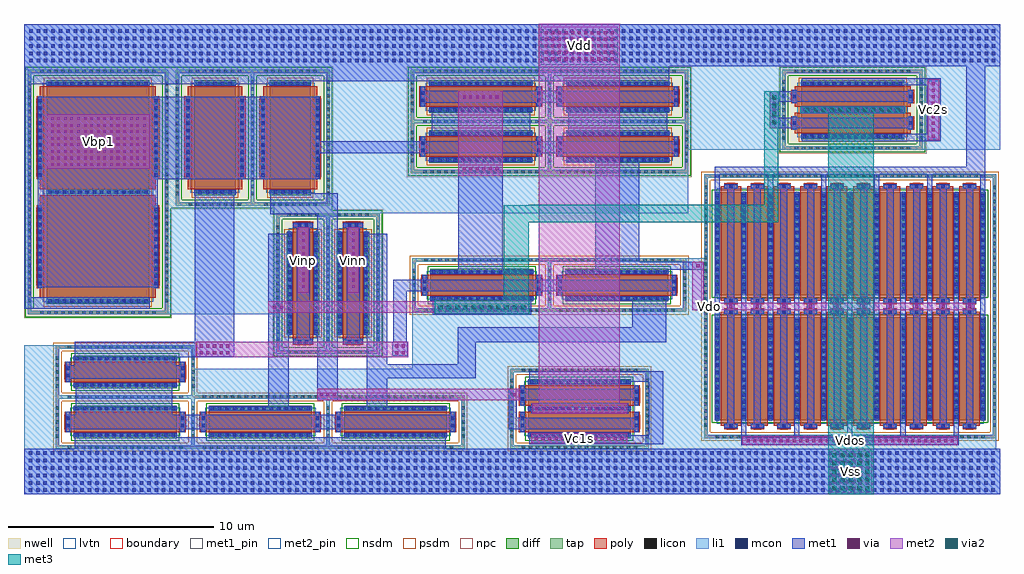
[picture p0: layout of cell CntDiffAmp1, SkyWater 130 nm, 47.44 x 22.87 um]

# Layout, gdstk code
from math import pi, radians
import gdstk
lib = gdstk.Library(unit=1e-6, precision=1e-09)
def R(c, l, rs):  # rectangles x0, y0, x1, y1
    for r in rs: c.add(gdstk.rectangle(r[:2], r[2:], *l))
def A(c, l, x, y, w, h, nx, ny, dx, dy):  # array of equal rectangles
    R(c, l, [(x+i*dx, y+j*dy, x+i*dx+w, y+j*dy+h) for i in range(nx) for j in range(ny)])
nwell = (64, 20)
diff = (65, 20)
tap = (65, 44)
poly = (66, 20)
licon = (66, 44)
li1 = (67, 20)
mcon = (67, 44)
met1_pin = (68, 16)
met1 = (68, 20)
via = (68, 44)
met2_pin = (69, 16)
met2 = (69, 20)
via2 = (69, 44)
met3 = (70, 20)
nsdm = (93, 44)
psdm = (94, 20)
npc = (95, 20)
lvtn = (125, 44)
boundary = (235, 4)

sky130_fd_pr__pfet_01v8_ = lib.new_cell('sky130_fd_pr__pfet_01v8_lvt_9T37YK')
R(sky130_fd_pr__pfet_01v8_, nwell, [(-3.48,-2.095,3.48,2.095)])
R(sky130_fd_pr__pfet_01v8_, diff, [(-2.79,-1,2.79,1)])
R(sky130_fd_pr__pfet_01v8_, tap, [(-3.3,-1.915,3.3,-1.745), (-3.3,-1.745,-3.13,1.745), (3.13,-1.745,3.3,1.745), (-3.3,1.745,3.3,1.915)])
R(sky130_fd_pr__pfet_01v8_, poly, [(-2.015,-1.485,2.015,-1.32), (-2.5,-1.32,2.5,1.32), (-2.015,1.32,2.015,1.485)])
A(sky130_fd_pr__pfet_01v8_, licon, -2.805, -1.915, 0.17, 0.17, 17, 2, 0.34, 3.66)
A(sky130_fd_pr__pfet_01v8_, licon, -1.785, -1.405, 0.17, 0.17, 11, 2, 0.34, 2.64)
A(sky130_fd_pr__pfet_01v8_, licon, -3.3, -1.275, 0.17, 0.17, 1, 8, 0, 0.34)
A(sky130_fd_pr__pfet_01v8_, licon, 3.13, -1.275, 0.17, 0.17, 1, 8, 0, 0.34)
A(sky130_fd_pr__pfet_01v8_, licon, -2.73, -0.935, 0.17, 0.17, 1, 6, 0, 0.34)
A(sky130_fd_pr__pfet_01v8_, licon, 2.56, -0.935, 0.17, 0.17, 1, 6, 0, 0.34)
R(sky130_fd_pr__pfet_01v8_, li1, [(-3.3,-1.915,3.3,-1.745), (-3.3,-1.745,-3.13,1.745), (3.13,-1.745,3.3,1.745), (-2.015,-1.405,2.015,-1.235), (-2.73,-1.02,-2.56,1.02), (2.56,-1.02,2.73,1.02), (-2.015,1.235,2.015,1.405), (-3.3,1.745,3.3,1.915)])
A(sky130_fd_pr__pfet_01v8_, mcon, -1.885, -1.405, 0.17, 0.17, 11, 2, 0.36, 2.64)
A(sky130_fd_pr__pfet_01v8_, mcon, -2.73, -0.805, 0.17, 0.17, 1, 5, 0, 0.36)
A(sky130_fd_pr__pfet_01v8_, mcon, 2.56, -0.805, 0.17, 0.17, 1, 5, 0, 0.36)
R(sky130_fd_pr__pfet_01v8_, met1, [(-1.995,-1.435,1.995,-1.205), (-2.76,-1,-2.53,1), (2.53,-1,2.76,1), (-1.995,1.205,1.995,1.435)])
R(sky130_fd_pr__pfet_01v8_, nsdm, [(-3.425,-2.04,3.425,-1.62), (-3.425,-1.62,-3.005,1.62), (3.005,-1.62,3.425,1.62), (-3.425,1.62,3.425,2.04)])
R(sky130_fd_pr__pfet_01v8_, psdm, [(-2.915,-1.125,2.915,1.125)])
R(sky130_fd_pr__pfet_01v8_, npc, [(-1.885,-1.505,1.885,-1.135), (-1.885,1.135,1.885,1.505)])
R(sky130_fd_pr__pfet_01v8_, lvtn, [(-2.68,-1.18,2.68,1.18)])
R(sky130_fd_pr__pfet_01v8_, boundary, [(-3.215,-1.83,3.215,1.83)])

c_sky130_fd_pr__pfet_01v8_ = lib.new_cell('sky130_fd_pr__pfet_01v8_lvt_LKL9EP')
R(c_sky130_fd_pr__pfet_01v8_, nwell, [(-1.48,-3.595,1.48,3.595)])
R(c_sky130_fd_pr__pfet_01v8_, diff, [(-0.79,-2.5,0.79,2.5)])
R(c_sky130_fd_pr__pfet_01v8_, tap, [(-1.3,-3.415,1.3,-3.245), (-1.3,-3.245,-1.13,3.245), (1.13,-3.245,1.3,3.245), (-1.3,3.245,1.3,3.415)])
R(c_sky130_fd_pr__pfet_01v8_, poly, [(-0.5,-2.985,0.5,2.985)])
A(c_sky130_fd_pr__pfet_01v8_, licon, -0.765, -3.415, 0.17, 0.17, 5, 2, 0.34, 6.66)
A(c_sky130_fd_pr__pfet_01v8_, licon, -1.3, -2.805, 0.17, 0.17, 1, 17, 0, 0.34)
A(c_sky130_fd_pr__pfet_01v8_, licon, 1.13, -2.805, 0.17, 0.17, 1, 17, 0, 0.34)
A(c_sky130_fd_pr__pfet_01v8_, licon, -0.73, -2.295, 0.17, 0.17, 1, 14, 0, 0.34)
A(c_sky130_fd_pr__pfet_01v8_, licon, 0.56, -2.295, 0.17, 0.17, 1, 14, 0, 0.34)
R(c_sky130_fd_pr__pfet_01v8_, licon, [(-0.255,-2.905,-0.085,-2.735), (0.085,-2.905,0.255,-2.735), (-0.255,2.735,-0.085,2.905), (0.085,2.735,0.255,2.905)])
R(c_sky130_fd_pr__pfet_01v8_, li1, [(-1.3,-3.415,1.3,-3.245), (-1.3,-3.245,-1.13,3.245), (1.13,-3.245,1.3,3.245), (-0.5,-2.905,0.5,-2.735), (-0.73,-2.52,-0.56,2.52), (0.56,-2.52,0.73,2.52), (-0.5,2.735,0.5,2.905), (-1.3,3.245,1.3,3.415)])
A(c_sky130_fd_pr__pfet_01v8_, mcon, -0.73, -2.425, 0.17, 0.17, 1, 14, 0, 0.36)
A(c_sky130_fd_pr__pfet_01v8_, mcon, 0.56, -2.425, 0.17, 0.17, 1, 14, 0, 0.36)
R(c_sky130_fd_pr__pfet_01v8_, mcon, [(-0.265,-2.905,-0.095,-2.735), (0.095,-2.905,0.265,-2.735), (-0.265,2.735,-0.095,2.905), (0.095,2.735,0.265,2.905)])
R(c_sky130_fd_pr__pfet_01v8_, met1, [(-0.48,-2.935,0.48,-2.705), (-0.76,-2.5,-0.53,2.5), (0.53,-2.5,0.76,2.5), (-0.48,2.705,0.48,2.935)])
R(c_sky130_fd_pr__pfet_01v8_, nsdm, [(-1.425,-3.54,1.425,-3.12), (-1.425,-3.12,-1.005,3.12), (1.005,-3.12,1.425,3.12), (-1.425,3.12,1.425,3.54)])
R(c_sky130_fd_pr__pfet_01v8_, psdm, [(-0.915,-2.625,0.915,2.625)])
R(c_sky130_fd_pr__pfet_01v8_, npc, [(-0.355,-3.005,0.355,-2.635), (-0.355,2.635,0.355,3.005)])
R(c_sky130_fd_pr__pfet_01v8_, lvtn, [(-0.68,-2.68,0.68,2.68)])
R(c_sky130_fd_pr__pfet_01v8_, boundary, [(-1.215,-3.33,1.215,3.33)])

c_sky130_fd_pr__pfet_01v8__ = lib.new_cell('sky130_fd_pr__pfet_01v8_lvt_LPWSEP')
R(c_sky130_fd_pr__pfet_01v8__, nwell, [(-1.48,-3.595,1.48,3.595)])
R(c_sky130_fd_pr__pfet_01v8__, diff, [(-0.79,-2.5,0.79,2.5)])
R(c_sky130_fd_pr__pfet_01v8__, tap, [(-1.3,-3.415,1.3,-3.245), (-1.3,-3.245,-1.13,3.245), (1.13,-3.245,1.3,3.245), (-1.3,3.245,1.3,3.415)])
R(c_sky130_fd_pr__pfet_01v8__, poly, [(-0.5,-2.985,0.5,2.985)])
A(c_sky130_fd_pr__pfet_01v8__, licon, -0.765, -3.415, 0.17, 0.17, 5, 2, 0.34, 6.66)
A(c_sky130_fd_pr__pfet_01v8__, licon, -1.3, -2.805, 0.17, 0.17, 1, 17, 0, 0.34)
A(c_sky130_fd_pr__pfet_01v8__, licon, 1.13, -2.805, 0.17, 0.17, 1, 17, 0, 0.34)
A(c_sky130_fd_pr__pfet_01v8__, licon, -0.73, -2.295, 0.17, 0.17, 1, 14, 0, 0.34)
A(c_sky130_fd_pr__pfet_01v8__, licon, 0.56, -2.295, 0.17, 0.17, 1, 14, 0, 0.34)
R(c_sky130_fd_pr__pfet_01v8__, licon, [(-0.255,-2.905,-0.085,-2.735), (0.085,-2.905,0.255,-2.735), (-0.255,2.735,-0.085,2.905), (0.085,2.735,0.255,2.905)])
R(c_sky130_fd_pr__pfet_01v8__, li1, [(-1.3,-3.415,1.3,-3.245), (-1.3,-3.245,-1.13,3.245), (1.13,-3.245,1.3,3.245), (-0.5,-2.905,0.5,-2.735), (-0.73,-2.52,-0.56,2.52), (0.56,-2.52,0.73,2.52), (-0.5,2.735,0.5,2.905), (-1.3,3.245,1.3,3.415)])
A(c_sky130_fd_pr__pfet_01v8__, mcon, -0.73, -2.425, 0.17, 0.17, 1, 14, 0, 0.36)
A(c_sky130_fd_pr__pfet_01v8__, mcon, 0.56, -2.425, 0.17, 0.17, 1, 14, 0, 0.36)
R(c_sky130_fd_pr__pfet_01v8__, mcon, [(-0.265,-2.905,-0.095,-2.735), (0.095,-2.905,0.265,-2.735), (-0.265,2.735,-0.095,2.905), (0.095,2.735,0.265,2.905)])
R(c_sky130_fd_pr__pfet_01v8__, met1, [(-0.48,-2.935,0.48,-2.705), (-0.76,-2.5,-0.53,2.5), (0.53,-2.5,0.76,2.5), (-0.48,2.705,0.48,2.935)])
R(c_sky130_fd_pr__pfet_01v8__, nsdm, [(-1.425,-3.54,1.425,-3.12), (-1.425,-3.12,-1.005,3.12), (1.005,-3.12,1.425,3.12), (-1.425,3.12,1.425,3.54)])
R(c_sky130_fd_pr__pfet_01v8__, psdm, [(-0.915,-2.625,0.915,2.625)])
R(c_sky130_fd_pr__pfet_01v8__, npc, [(-0.355,-3.005,0.355,-2.635), (-0.355,2.635,0.355,3.005)])
R(c_sky130_fd_pr__pfet_01v8__, lvtn, [(-0.68,-2.68,0.68,2.68)])
R(c_sky130_fd_pr__pfet_01v8__, boundary, [(-1.215,-3.33,1.215,3.33)])

sky130_fd_pr__nfet_01v8_ = lib.new_cell('sky130_fd_pr__nfet_01v8_lvt_MMMA4V')
R(sky130_fd_pr__nfet_01v8_, diff, [(-0.79,-2.5,0.79,2.5)])
R(sky130_fd_pr__nfet_01v8_, tap, [(-1.3,-3.37,1.3,-3.2), (-1.3,-3.2,-1.13,3.2), (1.13,-3.2,1.3,3.2), (-1.3,3.2,1.3,3.37)])
R(sky130_fd_pr__nfet_01v8_, poly, [(-0.5,-2.94,0.5,2.94)])
A(sky130_fd_pr__nfet_01v8_, licon, -0.765, -3.37, 0.17, 0.17, 5, 2, 0.34, 6.57)
A(sky130_fd_pr__nfet_01v8_, licon, -1.3, -2.805, 0.17, 0.17, 1, 17, 0, 0.34)
A(sky130_fd_pr__nfet_01v8_, licon, 1.13, -2.805, 0.17, 0.17, 1, 17, 0, 0.34)
A(sky130_fd_pr__nfet_01v8_, licon, -0.73, -2.295, 0.17, 0.17, 1, 14, 0, 0.34)
A(sky130_fd_pr__nfet_01v8_, licon, 0.56, -2.295, 0.17, 0.17, 1, 14, 0, 0.34)
R(sky130_fd_pr__nfet_01v8_, licon, [(-0.255,-2.86,-0.085,-2.69), (0.085,-2.86,0.255,-2.69), (-0.255,2.69,-0.085,2.86), (0.085,2.69,0.255,2.86)])
R(sky130_fd_pr__nfet_01v8_, li1, [(-1.3,-3.37,1.3,-3.2), (-1.3,-3.2,-1.13,3.2), (1.13,-3.2,1.3,3.2), (-0.5,-2.86,0.5,-2.69), (-0.73,-2.52,-0.56,2.52), (0.56,-2.52,0.73,2.52), (-0.5,2.69,0.5,2.86), (-1.3,3.2,1.3,3.37)])
A(sky130_fd_pr__nfet_01v8_, mcon, -0.73, -2.425, 0.17, 0.17, 1, 14, 0, 0.36)
A(sky130_fd_pr__nfet_01v8_, mcon, 0.56, -2.425, 0.17, 0.17, 1, 14, 0, 0.36)
R(sky130_fd_pr__nfet_01v8_, mcon, [(-0.265,-2.86,-0.095,-2.69), (0.095,-2.86,0.265,-2.69), (-0.265,2.69,-0.095,2.86), (0.095,2.69,0.265,2.86)])
R(sky130_fd_pr__nfet_01v8_, met1, [(-0.48,-2.89,0.48,-2.66), (-0.76,-2.5,-0.53,2.5), (0.53,-2.5,0.76,2.5), (-0.48,2.66,0.48,2.89)])
R(sky130_fd_pr__nfet_01v8_, nsdm, [(-0.915,-2.625,0.915,2.625)])
R(sky130_fd_pr__nfet_01v8_, psdm, [(-1.425,-3.495,1.425,-3.075), (-1.425,-3.075,-1.005,3.075), (1.005,-3.075,1.425,3.075), (-1.425,3.075,1.425,3.495)])
R(sky130_fd_pr__nfet_01v8_, npc, [(-0.355,-2.96,0.355,-2.59), (-0.355,2.59,0.355,2.96)])
R(sky130_fd_pr__nfet_01v8_, lvtn, [(-0.68,-2.68,0.68,2.68)])
R(sky130_fd_pr__nfet_01v8_, boundary, [(-1.21,-3.28,1.21,3.28)])

c_sky130_fd_pr__pfet_01v8___ = lib.new_cell('sky130_fd_pr__pfet_01v8_lvt_HV57YK')
R(c_sky130_fd_pr__pfet_01v8___, nwell, [(-3.48,-2.095,3.48,2.095)])
R(c_sky130_fd_pr__pfet_01v8___, diff, [(-2.79,-1,2.79,1)])
R(c_sky130_fd_pr__pfet_01v8___, tap, [(-3.3,-1.915,3.3,-1.745), (-3.3,-1.745,-3.13,1.745), (3.13,-1.745,3.3,1.745), (-3.3,1.745,3.3,1.915)])
R(c_sky130_fd_pr__pfet_01v8___, poly, [(-2.015,-1.485,2.015,-1.32), (-2.5,-1.32,2.5,1.32), (-2.015,1.32,2.015,1.485)])
A(c_sky130_fd_pr__pfet_01v8___, licon, -2.805, -1.915, 0.17, 0.17, 17, 2, 0.34, 3.66)
A(c_sky130_fd_pr__pfet_01v8___, licon, -1.785, -1.405, 0.17, 0.17, 11, 2, 0.34, 2.64)
A(c_sky130_fd_pr__pfet_01v8___, licon, -3.3, -1.275, 0.17, 0.17, 1, 8, 0, 0.34)
A(c_sky130_fd_pr__pfet_01v8___, licon, 3.13, -1.275, 0.17, 0.17, 1, 8, 0, 0.34)
A(c_sky130_fd_pr__pfet_01v8___, licon, -2.73, -0.935, 0.17, 0.17, 1, 6, 0, 0.34)
A(c_sky130_fd_pr__pfet_01v8___, licon, 2.56, -0.935, 0.17, 0.17, 1, 6, 0, 0.34)
R(c_sky130_fd_pr__pfet_01v8___, li1, [(-3.3,-1.915,3.3,-1.745), (-3.3,-1.745,-3.13,1.745), (3.13,-1.745,3.3,1.745), (-2.015,-1.405,2.015,-1.235), (-2.73,-1.02,-2.56,1.02), (2.56,-1.02,2.73,1.02), (-2.015,1.235,2.015,1.405), (-3.3,1.745,3.3,1.915)])
A(c_sky130_fd_pr__pfet_01v8___, mcon, -1.885, -1.405, 0.17, 0.17, 11, 2, 0.36, 2.64)
A(c_sky130_fd_pr__pfet_01v8___, mcon, -2.73, -0.805, 0.17, 0.17, 1, 5, 0, 0.36)
A(c_sky130_fd_pr__pfet_01v8___, mcon, 2.56, -0.805, 0.17, 0.17, 1, 5, 0, 0.36)
R(c_sky130_fd_pr__pfet_01v8___, met1, [(-1.995,-1.435,1.995,-1.205), (-2.76,-1,-2.53,1), (2.53,-1,2.76,1), (-1.995,1.205,1.995,1.435)])
R(c_sky130_fd_pr__pfet_01v8___, nsdm, [(-3.425,-2.04,3.425,-1.62), (-3.425,-1.62,-3.005,1.62), (3.005,-1.62,3.425,1.62), (-3.425,1.62,3.425,2.04)])
R(c_sky130_fd_pr__pfet_01v8___, psdm, [(-2.915,-1.125,2.915,1.125)])
R(c_sky130_fd_pr__pfet_01v8___, npc, [(-1.885,-1.505,1.885,-1.135), (-1.885,1.135,1.885,1.505)])
R(c_sky130_fd_pr__pfet_01v8___, lvtn, [(-2.68,-1.18,2.68,1.18)])
R(c_sky130_fd_pr__pfet_01v8___, boundary, [(-3.215,-1.83,3.215,1.83)])

c_sky130_fd_pr__pfet_01v8____ = lib.new_cell('sky130_fd_pr__pfet_01v8_lvt_RNLRNP')
R(c_sky130_fd_pr__pfet_01v8____, nwell, [(-6.125,-3.595,6.125,3.595)])
R(c_sky130_fd_pr__pfet_01v8____, diff, [(-5.435,-2.5,5.435,2.5)])
R(c_sky130_fd_pr__pfet_01v8____, tap, [(-5.945,-3.415,5.945,-3.245), (-5.945,-3.245,-5.775,3.245), (5.775,-3.245,5.945,3.245), (-5.945,3.245,5.945,3.415)])
R(c_sky130_fd_pr__pfet_01v8____, poly, [(-4.66,-2.985,-0.63,-2.82), (0.63,-2.985,4.66,-2.82), (-5.145,-2.82,-0.145,2.82), (0.145,-2.82,5.145,2.82), (-4.66,2.82,-0.63,2.985), (0.63,2.82,4.66,2.985)])
A(c_sky130_fd_pr__pfet_01v8____, licon, -5.355, -3.415, 0.17, 0.17, 32, 2, 0.34, 6.66)
A(c_sky130_fd_pr__pfet_01v8____, licon, -4.43, -2.905, 0.17, 0.17, 11, 2, 0.34, 5.64)
A(c_sky130_fd_pr__pfet_01v8____, licon, 0.86, -2.905, 0.17, 0.17, 11, 2, 0.34, 5.64)
A(c_sky130_fd_pr__pfet_01v8____, licon, -5.945, -2.805, 0.17, 0.17, 1, 17, 0, 0.34)
A(c_sky130_fd_pr__pfet_01v8____, licon, 5.775, -2.805, 0.17, 0.17, 1, 17, 0, 0.34)
A(c_sky130_fd_pr__pfet_01v8____, licon, -5.375, -2.295, 0.17, 0.17, 3, 14, 5.29, 0.34)
A(c_sky130_fd_pr__pfet_01v8____, li1, -5.375, -2.52, 0.17, 5.04, 3, 1, 5.29, 0)
R(c_sky130_fd_pr__pfet_01v8____, li1, [(-5.945,-3.415,5.945,-3.245), (-5.945,-3.245,-5.775,3.245), (5.775,-3.245,5.945,3.245), (-4.66,-2.905,-0.63,-2.735), (0.63,-2.905,4.66,-2.735), (-4.66,2.735,-0.63,2.905), (0.63,2.735,4.66,2.905), (-5.945,3.245,5.945,3.415)])
A(c_sky130_fd_pr__pfet_01v8____, mcon, -4.53, -2.905, 0.17, 0.17, 11, 2, 0.36, 5.64)
A(c_sky130_fd_pr__pfet_01v8____, mcon, 0.76, -2.905, 0.17, 0.17, 11, 2, 0.36, 5.64)
A(c_sky130_fd_pr__pfet_01v8____, mcon, -5.375, -2.425, 0.17, 0.17, 3, 14, 5.29, 0.36)
A(c_sky130_fd_pr__pfet_01v8____, met1, -5.405, -2.5, 0.23, 5, 3, 1, 5.29, 0)
R(c_sky130_fd_pr__pfet_01v8____, met1, [(-4.64,-2.935,-0.65,-2.705), (0.65,-2.935,4.64,-2.705), (-4.64,2.705,-0.65,2.935), (0.65,2.705,4.64,2.935)])
R(c_sky130_fd_pr__pfet_01v8____, nsdm, [(-6.07,-3.54,6.07,-3.12), (-6.07,-3.12,-5.65,3.12), (5.65,-3.12,6.07,3.12), (-6.07,3.12,6.07,3.54)])
R(c_sky130_fd_pr__pfet_01v8____, psdm, [(-5.56,-2.625,5.56,2.625)])
R(c_sky130_fd_pr__pfet_01v8____, npc, [(-4.53,-3.005,-0.76,-2.635), (0.76,-3.005,4.53,-2.635), (-4.53,2.635,-0.76,3.005), (0.76,2.635,4.53,3.005)])
R(c_sky130_fd_pr__pfet_01v8____, lvtn, [(-5.325,-2.68,5.325,2.68)])
R(c_sky130_fd_pr__pfet_01v8____, boundary, [(-5.86,-3.33,5.86,3.33)])

c_sky130_fd_pr__nfet_01v8_ = lib.new_cell('sky130_fd_pr__nfet_01v8_lvt_EY4QWC')
R(c_sky130_fd_pr__nfet_01v8_, diff, [(-1.435,-2.5,1.435,2.5)])
R(c_sky130_fd_pr__nfet_01v8_, tap, [(-1.945,-3.37,1.945,-3.2), (-1.945,-3.2,-1.775,3.2), (1.775,-3.2,1.945,3.2), (-1.945,3.2,1.945,3.37)])
R(c_sky130_fd_pr__nfet_01v8_, poly, [(-1.145,-2.94,-0.145,2.94), (0.145,-2.94,1.145,2.94)])
A(c_sky130_fd_pr__nfet_01v8_, licon, -1.445, -3.37, 0.17, 0.17, 9, 2, 0.34, 6.57)
A(c_sky130_fd_pr__nfet_01v8_, licon, -1.945, -2.805, 0.17, 0.17, 1, 17, 0, 0.34)
A(c_sky130_fd_pr__nfet_01v8_, licon, 1.775, -2.805, 0.17, 0.17, 1, 17, 0, 0.34)
A(c_sky130_fd_pr__nfet_01v8_, licon, -1.375, -2.295, 0.17, 0.17, 3, 14, 1.29, 0.34)
R(c_sky130_fd_pr__nfet_01v8_, licon, [(-0.9,-2.86,-0.73,-2.69), (-0.56,-2.86,-0.39,-2.69), (0.39,-2.86,0.56,-2.69), (0.73,-2.86,0.9,-2.69), (-0.9,2.69,-0.73,2.86), (-0.56,2.69,-0.39,2.86), (0.39,2.69,0.56,2.86), (0.73,2.69,0.9,2.86)])
A(c_sky130_fd_pr__nfet_01v8_, li1, -1.375, -2.52, 0.17, 5.04, 3, 1, 1.29, 0)
R(c_sky130_fd_pr__nfet_01v8_, li1, [(-1.945,-3.37,1.945,-3.2), (-1.945,-3.2,-1.775,3.2), (1.775,-3.2,1.945,3.2), (-1.145,-2.86,-0.145,-2.69), (0.145,-2.86,1.145,-2.69), (-1.145,2.69,-0.145,2.86), (0.145,2.69,1.145,2.86), (-1.945,3.2,1.945,3.37)])
A(c_sky130_fd_pr__nfet_01v8_, mcon, -1.375, -2.425, 0.17, 0.17, 3, 14, 1.29, 0.36)
R(c_sky130_fd_pr__nfet_01v8_, mcon, [(-0.91,-2.86,-0.74,-2.69), (-0.55,-2.86,-0.38,-2.69), (0.38,-2.86,0.55,-2.69), (0.74,-2.86,0.91,-2.69), (-0.91,2.69,-0.74,2.86), (-0.55,2.69,-0.38,2.86), (0.38,2.69,0.55,2.86), (0.74,2.69,0.91,2.86)])
A(c_sky130_fd_pr__nfet_01v8_, met1, -1.405, -2.5, 0.23, 5, 3, 1, 1.29, 0)
R(c_sky130_fd_pr__nfet_01v8_, met1, [(-1.125,-2.89,-0.165,-2.66), (0.165,-2.89,1.125,-2.66), (-1.125,2.66,-0.165,2.89), (0.165,2.66,1.125,2.89)])
R(c_sky130_fd_pr__nfet_01v8_, nsdm, [(-1.56,-2.625,1.56,2.625)])
R(c_sky130_fd_pr__nfet_01v8_, psdm, [(-2.07,-3.495,2.07,-3.075), (-2.07,-3.075,-1.65,3.075), (1.65,-3.075,2.07,3.075), (-2.07,3.075,2.07,3.495)])
R(c_sky130_fd_pr__nfet_01v8_, npc, [(-1,-2.96,-0.29,-2.59), (0.29,-2.96,1,-2.59), (-1,2.59,-0.29,2.96), (0.29,2.59,1,2.96)])
R(c_sky130_fd_pr__nfet_01v8_, lvtn, [(-1.325,-2.68,1.325,2.68)])
R(c_sky130_fd_pr__nfet_01v8_, boundary, [(-1.86,-3.285,1.86,3.285)])

c_sky130_fd_pr__nfet_01v8__ = lib.new_cell('sky130_fd_pr__nfet_01v8_lvt_T2LYQ7')
R(c_sky130_fd_pr__nfet_01v8__, diff, [(-6.595,-5.545,6.595,-0.545), (-6.595,0.545,6.595,5.545)])
R(c_sky130_fd_pr__nfet_01v8__, tap, [(-7.105,-6.415,7.105,-6.245), (-7.105,-6.245,-6.935,6.245), (6.935,-6.245,7.105,6.245), (-7.105,6.245,7.105,6.415)])
A(c_sky130_fd_pr__nfet_01v8__, poly, -6.135, -5.985, 0.66, 0.165, 10, 2, 1.29, 5.715)
A(c_sky130_fd_pr__nfet_01v8__, poly, -6.305, -5.82, 1, 5.55, 10, 2, 1.29, 6.09)
A(c_sky130_fd_pr__nfet_01v8__, poly, -6.135, 0.105, 0.66, 0.165, 10, 2, 1.29, 5.715)
A(c_sky130_fd_pr__nfet_01v8__, licon, -6.545, -6.415, 0.17, 0.17, 39, 2, 0.34, 12.66)
A(c_sky130_fd_pr__nfet_01v8__, licon, -5.89, -5.905, 0.17, 0.17, 10, 2, 1.29, 5.55)
A(c_sky130_fd_pr__nfet_01v8__, licon, -7.105, -5.865, 0.17, 0.17, 1, 35, 0, 0.34)
A(c_sky130_fd_pr__nfet_01v8__, licon, 6.935, -5.865, 0.17, 0.17, 1, 35, 0, 0.34)
A(c_sky130_fd_pr__nfet_01v8__, licon, -6.535, -5.34, 0.17, 0.17, 11, 14, 1.29, 0.34)
A(c_sky130_fd_pr__nfet_01v8__, licon, -5.89, 0.185, 0.17, 0.17, 10, 2, 1.29, 5.55)
A(c_sky130_fd_pr__nfet_01v8__, licon, -6.535, 0.75, 0.17, 0.17, 11, 14, 1.29, 0.34)
A(c_sky130_fd_pr__nfet_01v8__, li1, -6.135, -5.905, 0.66, 0.17, 10, 2, 1.29, 5.55)
A(c_sky130_fd_pr__nfet_01v8__, li1, -6.535, -5.565, 0.17, 5.04, 11, 2, 1.29, 6.09)
A(c_sky130_fd_pr__nfet_01v8__, li1, -6.135, 0.185, 0.66, 0.17, 10, 2, 1.29, 5.55)
R(c_sky130_fd_pr__nfet_01v8__, li1, [(-7.105,-6.415,7.105,-6.245), (-7.105,-6.245,-6.935,6.245), (6.935,-6.245,7.105,6.245), (-7.105,6.245,7.105,6.415)])
A(c_sky130_fd_pr__nfet_01v8__, mcon, -5.89, -5.905, 0.17, 0.17, 10, 2, 1.29, 5.55)
A(c_sky130_fd_pr__nfet_01v8__, mcon, -6.535, -5.47, 0.17, 0.17, 11, 14, 1.29, 0.36)
A(c_sky130_fd_pr__nfet_01v8__, mcon, -5.89, 0.185, 0.17, 0.17, 10, 2, 1.29, 5.55)
A(c_sky130_fd_pr__nfet_01v8__, mcon, -6.535, 0.62, 0.17, 0.17, 11, 14, 1.29, 0.36)
A(c_sky130_fd_pr__nfet_01v8__, met1, -6.115, -5.935, 0.62, 0.23, 10, 2, 1.29, 5.55)
A(c_sky130_fd_pr__nfet_01v8__, met1, -6.565, -5.545, 0.23, 5, 11, 2, 1.29, 6.09)
A(c_sky130_fd_pr__nfet_01v8__, met1, -6.115, 0.155, 0.62, 0.23, 10, 2, 1.29, 5.55)
R(c_sky130_fd_pr__nfet_01v8__, nsdm, [(-6.72,-5.67,6.72,-0.42), (-6.72,0.42,6.72,5.67)])
R(c_sky130_fd_pr__nfet_01v8__, psdm, [(-7.23,-6.54,7.23,-6.12), (-7.23,-6.12,-6.81,6.12), (6.81,-6.12,7.23,6.12), (-7.23,6.12,7.23,6.54)])
A(c_sky130_fd_pr__nfet_01v8__, npc, -5.99, -6.005, 0.37, 0.37, 10, 2, 1.29, 11.64)
A(c_sky130_fd_pr__nfet_01v8__, npc, -5.99, -0.455, 0.37, 0.91, 10, 1, 1.29, 0)
R(c_sky130_fd_pr__nfet_01v8__, lvtn, [(-6.485,-5.725,6.485,-0.365), (-6.485,0.365,6.485,5.725)])
R(c_sky130_fd_pr__nfet_01v8__, boundary, [(-7.02,-6.33,7.02,6.33)])

c_sky130_fd_pr__pfet_01v8_____ = lib.new_cell('sky130_fd_pr__pfet_01v8_lvt_ZWP3RP')
R(c_sky130_fd_pr__pfet_01v8_____, nwell, [(-2.125,-3.595,2.125,3.595)])
R(c_sky130_fd_pr__pfet_01v8_____, diff, [(-1.435,-2.5,1.435,2.5)])
R(c_sky130_fd_pr__pfet_01v8_____, tap, [(-1.945,-3.415,1.945,-3.245), (-1.945,-3.245,-1.775,3.245), (1.775,-3.245,1.945,3.245), (-1.945,3.245,1.945,3.415)])
R(c_sky130_fd_pr__pfet_01v8_____, poly, [(-0.975,-2.985,-0.315,-2.82), (0.315,-2.985,0.975,-2.82), (-1.145,-2.82,-0.145,2.82), (0.145,-2.82,1.145,2.82), (-0.975,2.82,-0.315,2.985), (0.315,2.82,0.975,2.985)])
A(c_sky130_fd_pr__pfet_01v8_____, licon, -1.445, -3.415, 0.17, 0.17, 9, 2, 0.34, 6.66)
A(c_sky130_fd_pr__pfet_01v8_____, licon, -1.945, -2.805, 0.17, 0.17, 1, 17, 0, 0.34)
A(c_sky130_fd_pr__pfet_01v8_____, licon, 1.775, -2.805, 0.17, 0.17, 1, 17, 0, 0.34)
A(c_sky130_fd_pr__pfet_01v8_____, licon, -1.375, -2.295, 0.17, 0.17, 3, 14, 1.29, 0.34)
R(c_sky130_fd_pr__pfet_01v8_____, licon, [(-0.73,-2.905,-0.56,-2.735), (0.56,-2.905,0.73,-2.735), (-0.73,2.735,-0.56,2.905), (0.56,2.735,0.73,2.905)])
A(c_sky130_fd_pr__pfet_01v8_____, li1, -1.375, -2.52, 0.17, 5.04, 3, 1, 1.29, 0)
R(c_sky130_fd_pr__pfet_01v8_____, li1, [(-1.945,-3.415,1.945,-3.245), (-1.945,-3.245,-1.775,3.245), (1.775,-3.245,1.945,3.245), (-0.975,-2.905,-0.315,-2.735), (0.315,-2.905,0.975,-2.735), (-0.975,2.735,-0.315,2.905), (0.315,2.735,0.975,2.905), (-1.945,3.245,1.945,3.415)])
A(c_sky130_fd_pr__pfet_01v8_____, mcon, -1.375, -2.425, 0.17, 0.17, 3, 14, 1.29, 0.36)
R(c_sky130_fd_pr__pfet_01v8_____, mcon, [(-0.73,-2.905,-0.56,-2.735), (0.56,-2.905,0.73,-2.735), (-0.73,2.735,-0.56,2.905), (0.56,2.735,0.73,2.905)])
A(c_sky130_fd_pr__pfet_01v8_____, met1, -1.405, -2.5, 0.23, 5, 3, 1, 1.29, 0)
R(c_sky130_fd_pr__pfet_01v8_____, met1, [(-0.955,-2.935,-0.335,-2.705), (0.335,-2.935,0.955,-2.705), (-0.955,2.705,-0.335,2.935), (0.335,2.705,0.955,2.935)])
R(c_sky130_fd_pr__pfet_01v8_____, nsdm, [(-2.07,-3.54,2.07,-3.12), (-2.07,-3.12,-1.65,3.12), (1.65,-3.12,2.07,3.12), (-2.07,3.12,2.07,3.54)])
R(c_sky130_fd_pr__pfet_01v8_____, psdm, [(-1.56,-2.625,1.56,2.625)])
R(c_sky130_fd_pr__pfet_01v8_____, npc, [(-0.83,-3.005,-0.46,-2.635), (0.46,-3.005,0.83,-2.635), (-0.83,2.635,-0.46,3.005), (0.46,2.635,0.83,3.005)])
R(c_sky130_fd_pr__pfet_01v8_____, lvtn, [(-1.325,-2.68,1.325,2.68)])
R(c_sky130_fd_pr__pfet_01v8_____, boundary, [(-1.86,-3.33,1.86,3.33)])

cntdiffamp1 = lib.new_cell('CntDiffAmp1')
R(cntdiffamp1, li1, [(2.74,14.63,50.18,16.75), (2.74,16.75,50,16.85), (2.74,16.85,4.29,21.88), (24.17,16.85,26.37,19.45), (33.11,16.85,50,17.36), (33.11,17.36,35.8,20.73), (11.03,19.45,26.37,20.73), (11.03,20.73,35.8,20.74), (21.62,20.74,35.8,23.49), (9.75,23.37,15,28.3), (34.93,23.49,35.8,26.09), (9.75,28.3,35.02,28.66), (9.75,28.66,10.11,35.26), (17.6,28.66,35.02,30.23), (17.6,30.23,21.53,35.26), (35.02,31.37,39.6,35.26), (46.43,31.37,50.18,35.26), (2.74,35.26,50.18,37.48)])
A(cntdiffamp1, mcon, 2.965, 14.74, 0.17, 0.17, 131, 6, 0.36, 0.36)
A(cntdiffamp1, mcon, 2.99, 35.62, 0.17, 0.17, 131, 5, 0.36, 0.36)
R(cntdiffamp1, met1_pin, [(41.91,14.71,43.95,16.75), (27.85,35.5,31.6,37.35)])
A(cntdiffamp1, met1, 37.6, 17.4, 0.25, 11.9, 5, 1, 2.58, 0)
A(cntdiffamp1, met1, 36.93, 18.04, 0.34, 11.46, 10, 1, 1.29, 0)
A(cntdiffamp1, met1, 36.32, 18.25, 0.25, 11.93, 6, 1, 2.58, 0)
R(cntdiffamp1, met1, [(2.74,14.63,50.18,16.85), (5.2,16.85,23.25,17.4), (37.6,17,48.17,17.06), (27.3,17.05,33.8,17.5), (37.6,17.06,48.18,17.4), (27.3,17.5,32.2,17.55), (33.1,17.5,33.8,20.1), (27.3,17.55,32.15,17.65), (4.95,17.8,10.35,18.5), (10.5,17.8,23.5,18.5), (26.3,17.8,32.45,18.35), (26.3,18.35,26.7,19.2), (5.25,18.5,9.95,19.85), (27.4,18.55,32.1,19.05), (14.6,18.85,15.6,27.3), (19.4,18.85,20.4,20.26), (17,19.2,18,28.25), (26.3,19.2,32.45,19.75), (27.3,20.05,32.2,20.1), (27.3,20.1,33.8,20.6), (4.95,20.25,10.35,20.9), (19.4,20.26,24.71,20.95), (5.2,20.9,10.1,21.3), (19.4,20.95,20.4,27.3), (23.82,20.95,24.71,22.03), (5.2,21.3,12.95,22.05), (20.64,21.36,21.4,21.99), (20.69,21.99,21.35,24.5), (23.82,22.03,33.95,22.75), (11.05,22.05,12.95,29.25), (15.99,22.17,16.62,27.62), (18.42,22.17,19.05,27.62), (32.3,22.75,33.95,24.05), (22.6,23.35,27.4,24.05), (2.75,23.65,8.85,24.2), (2.75,24.2,3.1,34.55), (20.69,24.5,34.25,25.05), (3.4,24.7,9.25,29.95), (23.85,25.5,26,30.8), (30.5,25.5,32.65,25.55), (30.5,25.55,35.79,25.92), (30.5,25.92,32.65,30.8), (14.7,28.25,18,29.25), (3.4,29.95,17,30), (3.5,30,17,31.2), (36.32,30.18,49.47,30.55), (48.54,30.55,49.47,35.44), (3.5,31.2,22.1,31.8), (22.2,31.2,34.35,31.8), (3.5,31.8,17,33.95), (40.55,31.8,47.31,32.15), (46.61,32.15,47.31,34.5), (22.55,32.25,27.35,33.25), (29.2,32.25,34,33.25), (39,32.41,45.74,32.92), (39,32.92,39.41,33.71), (40.47,33.17,45.57,33.46), (22.03,33.65,34.35,34.25), (39,33.71,45.74,34.22), (40.54,34.5,47.3,34.85), (2.75,34.55,16.65,34.7), (2.75,34.7,34.1,35.44), (2.74,35.44,50.18,37.48)])
A(cntdiffamp1, via, 42.055, 14.855, 0.15, 0.15, 6, 6, 0.32, 0.32)
A(cntdiffamp1, via, 37.86, 17.155, 0.15, 0.15, 32, 1, 0.32, 0)
A(cntdiffamp1, via, 27.57, 17.275, 0.15, 0.15, 14, 1, 0.32, 0)
A(cntdiffamp1, via, 27.595, 18.725, 0.15, 0.15, 14, 1, 0.32, 0)
A(cntdiffamp1, via, 17.105, 19.4, 0.15, 0.15, 3, 1, 0.32, 0)
A(cntdiffamp1, via, 11.285, 21.44, 0.15, 0.15, 5, 2, 0.32, 0.32)
A(cntdiffamp1, via, 22.845, 23.65, 0.15, 0.15, 14, 1, 0.32, 0)
A(cntdiffamp1, via, 37.025, 23.69, 0.15, 0.15, 10, 1, 1.29, 0)
A(cntdiffamp1, via, 16.23, 24.65, 0.15, 0.15, 1, 9, 0, 0.32)
A(cntdiffamp1, via, 18.66, 24.65, 0.15, 0.15, 1, 9, 0, 0.32)
A(cntdiffamp1, via, 24.055, 30.375, 0.15, 0.15, 6, 2, 0.32, 3.49)
A(cntdiffamp1, via, 4.035, 30.58, 0.15, 0.15, 15, 8, 0.32, 0.32)
A(cntdiffamp1, via, 46.87, 31.955, 0.15, 0.15, 1, 9, 0, 0.32)
A(cntdiffamp1, via, 39.135, 32.6, 0.15, 0.15, 1, 5, 0, 0.32)
A(cntdiffamp1, via, 40.705, 33.24, 0.15, 0.15, 15, 1, 0.32, 0)
A(cntdiffamp1, via, 28.05, 35.71, 0.15, 0.15, 11, 5, 0.32, 0.32)
R(cntdiffamp1, via, [(26.525,19.4,26.675,19.55), (20.785,21.44,20.935,21.59), (21.105,21.44,21.255,21.59), (20.785,21.76,20.935,21.91), (21.105,21.76,21.255,21.91), (14.84,23.65,14.99,23.8), (15.16,23.65,15.31,23.8), (35.425,25.665,35.575,25.815)])
R(cntdiffamp1, met2_pin, [(37.66,17.06,48.13,17.4), (27.4,17.15,32.05,17.55), (35.22,23.58,36.93,23.95), (16.04,24.44,16.57,27.57), (18.47,24.44,19,27.57), (3.85,30.5,8.85,33.05), (46.67,31.88,47.22,34.74)])
R(cntdiffamp1, met2, [(41.82,14.63,44.04,16.85), (37.66,17.01,48.13,17.45), (27.4,17.1,32.05,17.6), (27.45,18.55,32.05,19.05), (27.75,19.05,31.7,37.5), (17,19.2,26.85,19.75), (12.9,21.3,21.41,21.31), (11.1,21.31,21.41,22.04), (12.9,22.04,21.41,22.05), (22.7,23.4,27.3,23.45), (14.6,23.45,27.3,24), (35.22,23.58,48.95,23.95), (35.22,23.95,35.79,25.92), (22.7,24,27.3,24.05), (16.04,24.39,16.57,27.62), (18.47,24.39,19,27.62), (23.85,30.1,26.01,34.25), (3.85,30.45,8.85,33.1), (46.67,31.83,47.22,34.79), (39,32.41,39.42,34.22), (40.52,33.12,45.52,33.51)])
A(cntdiffamp1, via2, 42.03, 14.83, 0.2, 0.2, 5, 5, 0.4, 0.4)
A(cntdiffamp1, via2, 22.895, 23.615, 0.2, 0.2, 11, 1, 0.4, 0)
A(cntdiffamp1, via2, 39.11, 32.615, 0.2, 0.2, 1, 4, 0, 0.4)
A(cntdiffamp1, via2, 40.72, 33.215, 0.2, 0.2, 12, 1, 0.4, 0)
R(cntdiffamp1, met3, [(41.82,14.63,44.04,33.145), (26.06,23.39,27.28,23.4), (22.7,23.4,27.3,24.05), (26.06,24.05,27.28,27.84), (26.06,27.84,39.41,28.67), (27.28,28.67,39.41,28.69), (38.73,28.69,39.41,32.41), (38.73,32.41,39.42,34.22), (40.47,33.145,45.57,33.485), (38.73,34.22,39.41,34.23)])
R(cntdiffamp1, nsdm, [(14.875,28.425,17.725,28.535), (9.875,28.535,9.985,35.385)])
cntdiffamp1.add(gdstk.Reference(sky130_fd_pr__pfet_01v8_, (15.685,31.96), rotation=3*pi/2))
cntdiffamp1.add(gdstk.Reference(c_sky130_fd_pr__pfet_01v8_, (16.3,24.885)))
cntdiffamp1.add(gdstk.Reference(c_sky130_fd_pr__pfet_01v8__, (18.73,24.885)))
cntdiffamp1.add(gdstk.Reference(sky130_fd_pr__nfet_01v8_, (14.23,18.15), rotation=3*pi/2))
cntdiffamp1.add(gdstk.Reference(sky130_fd_pr__nfet_01v8_, (20.8,18.15), rotation=3*pi/2))
cntdiffamp1.add(gdstk.Reference(c_sky130_fd_pr__pfet_01v8___, (12.025,31.96), rotation=3*pi/2))
cntdiffamp1.add(gdstk.Reference(sky130_fd_pr__nfet_01v8_, (7.66,20.58), rotation=3*pi/2))
cntdiffamp1.add(gdstk.Reference(sky130_fd_pr__nfet_01v8_, (7.66,18.15), rotation=3*pi/2))
cntdiffamp1.add(gdstk.Reference(c_sky130_fd_pr__pfet_01v8____, (6.335,29.315), rotation=3*pi/2))
cntdiffamp1.add(gdstk.Reference(sky130_fd_pr__nfet_01v8_, (24.99,24.79), rotation=3*pi/2))
cntdiffamp1.add(gdstk.Reference(sky130_fd_pr__nfet_01v8_, (31.56,24.79), rotation=3*pi/2))
cntdiffamp1.add(gdstk.Reference(c_sky130_fd_pr__pfet_01v8_, (24.945,31.53), rotation=3*pi/2))
cntdiffamp1.add(gdstk.Reference(c_sky130_fd_pr__pfet_01v8__, (31.605,31.53), rotation=3*pi/2))
cntdiffamp1.add(gdstk.Reference(c_sky130_fd_pr__pfet_01v8__, (24.945,33.96), rotation=3*pi/2))
cntdiffamp1.add(gdstk.Reference(c_sky130_fd_pr__pfet_01v8_, (31.605,33.96), rotation=3*pi/2))
cntdiffamp1.add(gdstk.Reference(c_sky130_fd_pr__nfet_01v8_, (29.74,18.79), rotation=3*pi/2))
cntdiffamp1.add(gdstk.Reference(c_sky130_fd_pr__nfet_01v8__, (42.9,23.77)))
cntdiffamp1.add(gdstk.Reference(c_sky130_fd_pr__pfet_01v8_____, (43.015,33.315), rotation=3*pi/2))
cntdiffamp1.add(gdstk.Label('Vdd', (29.725,36.425), layer=68, texttype=5))
cntdiffamp1.add(gdstk.Label('Vss', (42.93,15.73), layer=68, texttype=5))
cntdiffamp1.add(gdstk.Label('Vdo', (36.075,23.765), layer=69, texttype=5))
cntdiffamp1.add(gdstk.Label('Vinp', (16.305,26.005), layer=69, texttype=5))
cntdiffamp1.add(gdstk.Label('Vinn', (18.735,26.005), layer=69, texttype=5))
cntdiffamp1.add(gdstk.Label('Vbp1', (6.35,31.775), layer=69, texttype=5))
cntdiffamp1.add(gdstk.Label('Vc1s', (29.725,17.35), layer=69, texttype=5))
cntdiffamp1.add(gdstk.Label('Vc2s', (46.945,33.31), layer=69, texttype=5))
cntdiffamp1.add(gdstk.Label('Vdos', (42.895,17.23), layer=69, texttype=5))

lib.write_gds('CntDiffAmp1.gds')
